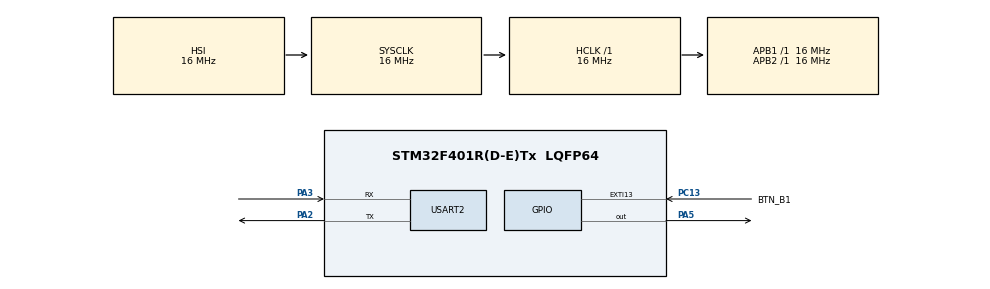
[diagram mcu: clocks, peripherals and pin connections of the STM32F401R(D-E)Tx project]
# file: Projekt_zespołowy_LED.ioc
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FREERTOS.Queues01=ButtonQueue,16,uint8_t,0,Dynamic,NULL,NULL
FREERTOS.Tasks01=defaultTask,24,128,StartDefaultTask,Default,NULL,Dynamic,NULL,NULL;ZadanieA,24,128,StartZadanieA,Default,NULL,Dynamic,NULL,NULL;ZadanieB,8,128,StartZadanieB,Default,NULL,Dynamic,NULL,NULL
FREERTOS.configUSE_NEWLIB_REENTRANT=1
Mcu.Family=STM32F4
Mcu.Name=STM32F401R(D-E)Tx
Mcu.Package=LQFP64
NVIC.EXTI15_10_IRQn=true\:5\:0\:true\:false\:true\:true\:true\:true\:true
NVIC.PriorityGroup=NVIC_PRIORITYGROUP_4
NVIC.TIM1_UP_TIM10_IRQn=true\:0\:0\:true\:false\:true\:false\:false\:true\:true
NVIC.TimeBase=TIM1_UP_TIM10_IRQn
NVIC.TimeBaseIP=TIM10
PA2.Mode=Asynchronous
PA2.Signal=USART2_TX
PA3.Mode=Asynchronous
PA3.Signal=USART2_RX
PA5.Signal=GPIO_Output
PC13-ANTI_TAMP.GPIO_Label=BTN_B1
PC13-ANTI_TAMP.GPIO_ModeDefaultEXTI=GPIO_MODE_IT_FALLING
PC13-ANTI_TAMP.Signal=GPXTI13
ProjectManager.HeapSize=0x200
ProjectManager.StackSize=0x400
ProjectManager.TargetToolchain=STM32CubeIDE
RCC.AHBFreq_Value=16000000
RCC.APB1Freq_Value=16000000
RCC.APB2Freq_Value=16000000
RCC.CortexFreq_Value=16000000
RCC.HSE_VALUE=25000000
RCC.HSI_VALUE=16000000
RCC.LSE_VALUE=32768
RCC.SYSCLKFreq_VALUE=16000000
RCC.VCOOutputFreq_Value=192000000
USART2.VirtualMode=VM_ASYNC
VP_FREERTOS_VS_CMSIS_V2.Mode=CMSIS_V2
VP_SYS_VS_tim10.Mode=TIM10
board=custom

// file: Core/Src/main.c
/* USER CODE BEGIN Header */
/**
  ******************************************************************************
  * @file           : main.c
  * @brief          : Main program body
  ******************************************************************************
  * @attention
  *
  * Copyright (c) 2026 STMicroelectronics.
  * All rights reserved.
  *
  * This software is licensed under terms that can be found in the LICENSE file
  * in the root directory of this software component.
  * If no LICENSE file comes with this software, it is provided AS-IS.
  *
  ******************************************************************************
  */
/* USER CODE END Header */
#include "main.h"
#include "cmsis_os.h"

/* USER CODE BEGIN Includes */
#include <stdio.h>
/* USER CODE END Includes */

UART_HandleTypeDef huart2;

/* Definitions for defaultTask */
osThreadId_t defaultTaskHandle;
const osThreadAttr_t defaultTask_attributes = {
  .name = "defaultTask",
  .stack_size = 128 * 4,
  .priority = (osPriority_t) osPriorityNormal,
};
/* Definitions for ZadanieA */
osThreadId_t ZadanieAHandle;
const osThreadAttr_t ZadanieA_attributes = {
  .name = "ZadanieA",
  .stack_size = 128 * 4,
  .priority = (osPriority_t) osPriorityNormal,
};
/* Definitions for ZadanieB */
osThreadId_t ZadanieBHandle;
const osThreadAttr_t ZadanieB_attributes = {
  .name = "ZadanieB",
  .stack_size = 128 * 4,
  .priority = (osPriority_t) osPriorityLow,
};
/* Definitions for ButtonQueue */
osMessageQueueId_t ButtonQueueHandle;
const osMessageQueueAttr_t ButtonQueue_attributes = {
  .name = "ButtonQueue"
};
/* USER CODE BEGIN PV */
static volatile uint8_t s_tryb = 1U; /* 0 = STOP, 1 = WOLNO, 2 = SZYBKO */
/* USER CODE END PV */

void SystemClock_Config(void);
static void MX_GPIO_Init(void);
static void MX_USART2_UART_Init(void);
void StartDefaultTask(void *argument);
void StartZadanieA(void *argument);
void StartZadanieB(void *argument);

/* USER CODE BEGIN 0 */
static const char* TrybToString(uint8_t tryb)
{
  switch (tryb)
  {
    case 0U:  return "STOP (wylaczone)";
    case 1U:  return "WOLNO (700 ms)";
    case 2U:  return "SZYBKO (150 ms)";
    default:  return "NIEZNANY";
  }
}
/* USER CODE END 0 */

int main(void)
{

  /* MCU Configuration--------------------------------------------------------*/

  /* Reset of all peripherals, Initializes the Flash interface and the Systick. */
  HAL_Init();

  /* Configure the system clock */
  SystemClock_Config();

  /* Initialize all configured peripherals */
  MX_GPIO_Init();
  MX_USART2_UART_Init();

  /* Init scheduler */
  osKernelInitialize();

  /* Create the queue(s) */
  /* creation of ButtonQueue */
  ButtonQueueHandle = osMessageQueueNew (16, sizeof(uint8_t), &ButtonQueue_attributes);

  /* Create the thread(s) */
  /* creation of defaultTask */
  defaultTaskHandle = osThreadNew(StartDefaultTask, NULL, &defaultTask_attributes);

  /* creation of ZadanieA */
  ZadanieAHandle = osThreadNew(StartZadanieA, NULL, &ZadanieA_attributes);

  /* creation of ZadanieB */
  ZadanieBHandle = osThreadNew(StartZadanieB, NULL, &ZadanieB_attributes);

  /* Start scheduler */
  osKernelStart();

  /* We should never get here as control is now taken by the scheduler */

  /* Infinite loop */
  while (1)
  {

  }
}

void SystemClock_Config(void)
{
  RCC_OscInitTypeDef RCC_OscInitStruct = {0};
  RCC_ClkInitTypeDef RCC_ClkInitStruct = {0};

  /** Configure the main internal regulator output voltage
  */
  __HAL_RCC_PWR_CLK_ENABLE();
  __HAL_PWR_VOLTAGESCALING_CONFIG(PWR_REGULATOR_VOLTAGE_SCALE2);

  /** Initializes the RCC Oscillators according to the specified parameters
  * in the RCC_OscInitTypeDef structure.
  */
  RCC_OscInitStruct.OscillatorType = RCC_OSCILLATORTYPE_HSI;
  RCC_OscInitStruct.HSIState = RCC_HSI_ON;
  RCC_OscInitStruct.HSICalibrationValue = RCC_HSICALIBRATION_DEFAULT;
  RCC_OscInitStruct.PLL.PLLState = RCC_PLL_NONE;
  if (HAL_RCC_OscConfig(&RCC_OscInitStruct) != HAL_OK)
  {
    Error_Handler();
  }

  /** Initializes the CPU, AHB and APB buses clocks
  */
  RCC_ClkInitStruct.ClockType = RCC_CLOCKTYPE_HCLK|RCC_CLOCKTYPE_SYSCLK
                              |RCC_CLOCKTYPE_PCLK1|RCC_CLOCKTYPE_PCLK2;
  RCC_ClkInitStruct.SYSCLKSource = RCC_SYSCLKSOURCE_HSI;
  RCC_ClkInitStruct.AHBCLKDivider = RCC_SYSCLK_DIV1;
  RCC_ClkInitStruct.APB1CLKDivider = RCC_HCLK_DIV1;
  RCC_ClkInitStruct.APB2CLKDivider = RCC_HCLK_DIV1;

  if (HAL_RCC_ClockConfig(&RCC_ClkInitStruct, FLASH_LATENCY_0) != HAL_OK)
  {
    Error_Handler();
  }
}

static void MX_USART2_UART_Init(void)
{

  huart2.Instance = USART2;
  huart2.Init.BaudRate = 115200;
  huart2.Init.WordLength = UART_WORDLENGTH_8B;
  huart2.Init.StopBits = UART_STOPBITS_1;
  huart2.Init.Parity = UART_PARITY_NONE;
  huart2.Init.Mode = UART_MODE_TX_RX;
  huart2.Init.HwFlowCtl = UART_HWCONTROL_NONE;
  huart2.Init.OverSampling = UART_OVERSAMPLING_16;
  if (HAL_UART_Init(&huart2) != HAL_OK)
  {
    Error_Handler();
  }

}

static void MX_GPIO_Init(void)
{
  GPIO_InitTypeDef GPIO_InitStruct = {0};

  /* GPIO Ports Clock Enable */
  __HAL_RCC_GPIOC_CLK_ENABLE();
  __HAL_RCC_GPIOA_CLK_ENABLE();

  /*Configure GPIO pin Output Level */
  HAL_GPIO_WritePin(GPIOA, GPIO_PIN_5, GPIO_PIN_RESET);

  /*Configure GPIO pin : BTN_B1_Pin */
  GPIO_InitStruct.Pin = BTN_B1_Pin;
  GPIO_InitStruct.Mode = GPIO_MODE_IT_FALLING;
  GPIO_InitStruct.Pull = GPIO_NOPULL;
  HAL_GPIO_Init(BTN_B1_GPIO_Port, &GPIO_InitStruct);

  /*Configure GPIO pin : PA5 */
  GPIO_InitStruct.Pin = GPIO_PIN_5;
  GPIO_InitStruct.Mode = GPIO_MODE_OUTPUT_PP;
  GPIO_InitStruct.Pull = GPIO_NOPULL;
  GPIO_InitStruct.Speed = GPIO_SPEED_FREQ_LOW;
  HAL_GPIO_Init(GPIOA, &GPIO_InitStruct);

  /* EXTI interrupt init*/
  HAL_NVIC_SetPriority(BTN_B1_EXTI_IRQn, 5, 0);
  HAL_NVIC_EnableIRQ(BTN_B1_EXTI_IRQn);

}

/* USER CODE BEGIN 4 */
void HAL_GPIO_EXTI_Callback(uint16_t GPIO_Pin)
{
  if (GPIO_Pin == BTN_B1_Pin)
  {
    static uint32_t last_tick = 0U;
    uint32_t now = HAL_GetTick();

    /* Proste odfiltrowanie drgań styków (np. min. 150 ms między kliknięciami) */
    if ((now - last_tick) < 150U)
    {
      return;
    }
    last_tick = now;

    /* Cykliczna zmiana trybu: 0 -> 1 -> 2 -> 0 */
    uint8_t nowy_tryb = (uint8_t)((s_tryb + 1U) % 3U);
    s_tryb = nowy_tryb;

    if (ButtonQueueHandle != NULL)
    {
      /* W przerwaniu ISR timeout musi wynosić 0U */
      (void)osMessageQueuePut(ButtonQueueHandle, &nowy_tryb, 0U, 0U);
    }
  }
}
/* USER CODE END 4 */

void StartDefaultTask(void *argument)
{
  for(;;)
  {
    osDelay(1);
  }
}

void StartZadanieA(void *argument)
{
  /* USER CODE BEGIN StartZadanieA */
  uint8_t odebrany_tryb = 0U;

  /* Infinite loop */
  for(;;)
  {
    while (osMessageQueueGet(ButtonQueueHandle, &odebrany_tryb, NULL, 0U) == osOK)
    {
      s_tryb = odebrany_tryb;
    }

    uint8_t aktualny = s_tryb;

    if (aktualny == 1U)
    {
      HAL_GPIO_TogglePin(GPIOA, GPIO_PIN_5);
      osDelay(700);
    }
    else if (aktualny == 2U)
    {
      HAL_GPIO_TogglePin(GPIOA, GPIO_PIN_5);
      osDelay(150);
    }
    else
    {
      /* Tryb 0: STOP */
      HAL_GPIO_WritePin(GPIOA, GPIO_PIN_5, GPIO_PIN_RESET);
      osDelay(100);
    }
  }
  /* USER CODE END StartZadanieA */
}

void StartZadanieB(void *argument)
{
  /* USER CODE BEGIN StartZadanieB */
  uint8_t odebrany_tryb = 0U;
  char bufor[64];

  /* Infinite loop */
  for(;;)
  {
    while (osMessageQueueGet(ButtonQueueHandle, &odebrany_tryb, NULL, 0U) == osOK)
    {
      s_tryb = odebrany_tryb;
    }

    int len = snprintf(bufor, sizeof(bufor), "Aktualny stan: %s\r\n", TrybToString(s_tryb));
    if (len > 0)
    {
      HAL_UART_Transmit(&huart2, (uint8_t*)bufor, (uint16_t)len, 100U);
    }

    osDelay(1000);
  }
  /* USER CODE END StartZadanieB */
}

void HAL_TIM_PeriodElapsedCallback(TIM_HandleTypeDef *htim)
{
  if (htim->Instance == TIM10)
  {
    HAL_IncTick();
  }
}

void Error_Handler(void)
{
  __disable_irq();
  while (1)
  {
  }
}
